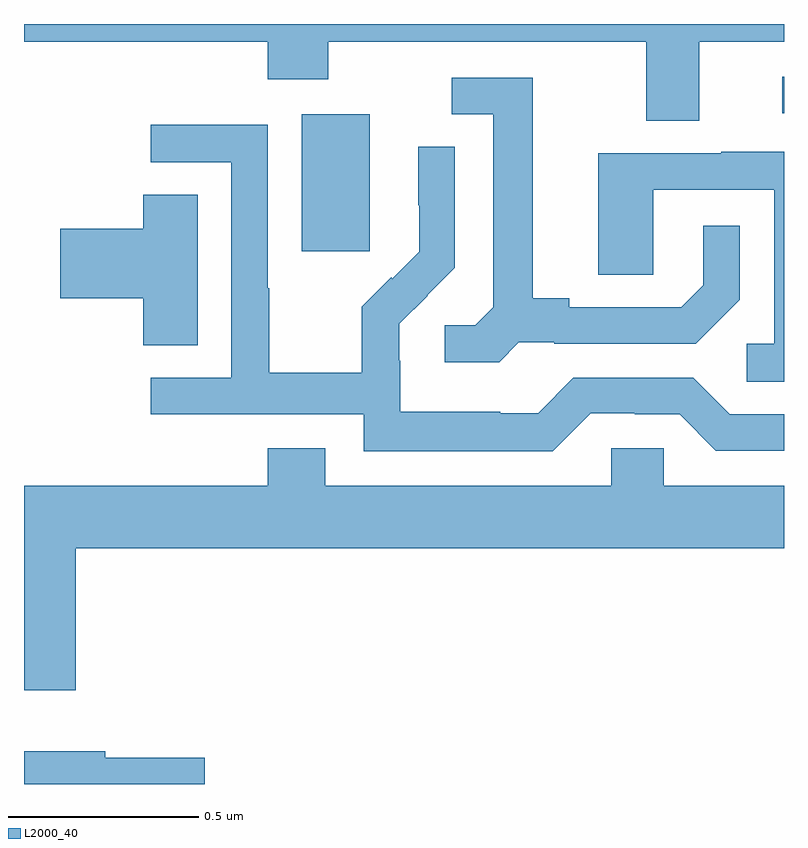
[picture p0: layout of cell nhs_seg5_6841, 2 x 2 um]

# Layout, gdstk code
import gdstk
lib = gdstk.Library(unit=1e-6, precision=1e-09)
def R(c, l, rs):  # rectangles x0, y0, x1, y1
    for r in rs: c.add(gdstk.rectangle(r[:2], r[2:], *l))
def P(c, l, *ps):  # polygons
    for p in ps: c.add(gdstk.Polygon(p, *l))
L2000_40 = (2000, 40)

nhs_seg5_6841 = lib.new_cell('nhs_seg5_6841')
R(nhs_seg5_6841, L2000_40, [(201.731,864.201,201.91,864.562), (202.995,864.564,203,864.66)])
P(nhs_seg5_6841, L2000_40, [(202.777,864.752),(203,864.752),(203,864.799),(201,864.799),(201,864.752),(201.641,864.752),(201.641,864.653),(201.801,864.653),(201.801,864.752),(202.637,864.752),(202.637,864.544),(202.777,864.544)],
  [(202.302,863.961),(202.396,863.961),(202.396,863.958),(202.768,863.958),(202.884,864.074),(202.884,864.268),(202.787,864.268),(202.787,864.111),(202.73,864.054),(202.435,864.054),(202.435,864.077),(202.339,864.077),(202.339,864.657),(202.125,864.657),(202.125,864.561),(202.235,864.561),(202.235,864.053),(202.188,864.006),(202.107,864.006),(202.107,863.909),(202.25,863.909)],
  [(202.491,863.775),(202.607,863.775),(202.607,863.772),(202.725,863.772),(202.821,863.676),(203,863.676),(203,863.772),(202.857,863.772),(202.761,863.868),(202.446,863.868),(202.353,863.775),(202.253,863.775),(202.253,863.779),(201.99,863.779),(201.99,863.913),(201.988,863.913),(201.988,864.01),(202.062,864.084),(202.061,864.085),(202.134,864.158),(202.134,864.476),(202.038,864.476),(202.038,864.322),(202.04,864.322),(202.04,864.2),(201.969,864.129),(201.966,864.132),(201.889,864.055),(201.889,863.881),(201.645,863.881),(201.645,864.104),(201.642,864.104),(201.642,864.534),(201.333,864.534),(201.333,864.435),(201.546,864.435),(201.546,863.868),(201.333,863.868),(201.333,863.772),(201.894,863.772),(201.894,863.675),(202.391,863.675)],
  [(203,864.463),(202.835,864.463),(202.835,864.459),(202.511,864.459),(202.511,864.139),(202.656,864.139),(202.656,864.363),(202.974,864.363),(202.974,863.958),(202.902,863.958),(202.902,863.857),(203,863.857)],
  [(201.457,864.35),(201.314,864.35),(201.314,864.26),(201.096,864.26),(201.096,864.077),(201.314,864.077),(201.314,863.953),(201.457,863.953)],
  [(201.136,863.42),(203,863.42),(203,863.584),(202.683,863.584),(202.683,863.682),(202.545,863.682),(202.545,863.584),(201.793,863.584),(201.793,863.683),(201.641,863.683),(201.641,863.584),(201,863.584),(201,863.046),(201.136,863.046)],
  [(201.475,862.868),(201.214,862.868),(201.214,862.885),(201,862.885),(201,862.799),(201.475,862.799)])

lib.write_gds('nhs_seg5_6841.gds')
